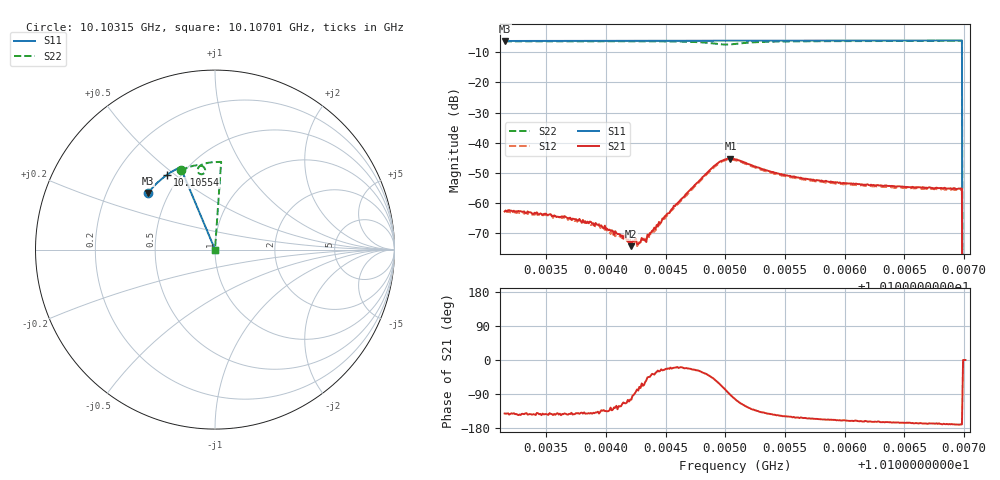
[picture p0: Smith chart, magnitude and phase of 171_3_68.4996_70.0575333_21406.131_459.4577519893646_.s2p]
#  HZ  S  RI  R  50.00
! Rohde & Schwarz Vector Network Analyzer
! Rohde-Schwarz,ZNB20-2Port,1311601062101988,3.16
! Created: UTC 3/20/2024, 5:11:21 PM
! freq[Hz]  re:S11  im:S11  re:S21  im:S21  re:S12  im:S12  re:S22  im:S22
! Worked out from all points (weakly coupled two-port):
!   401 points, 10.10315 GHz to 10.10701 GHz, reference 50 ohm
!   highest |S21| = -45.30 dB at 10.10504 GHz (marker M1); lowest = -74.4 dB at 10.10421 GHz (marker M2)
!   lowest |S11| = -6.2 dB at 10.10315 GHz (marker M3), VSWR 2.91, Z = 19.2 + j15.9 ohm
!   |S11| at or under -10 dB: 10.10698 GHz to end of sweep
!   |S22| runs from - to -6.2 dB; largest |S21 - S12| = 0.00055
!   S11 on the Smith chart (normalised r, x): 10.10315 GHz: 0.38, +0.32; 10.10554 GHz: 0.42, +0.47; 10.10701 GHz: 1.00, +0.00
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1.0103152e10  -0.3724 0.316  -0.000561 -0.00045  -0.000515 -0.0005  -0.1908 0.4412
1.0103519e10  -0.3583 0.3334  -0.000516 -0.000365  -0.00046 -0.000407  -0.1683 0.4511
1.0103799e10  -0.347 0.3462  -0.000352 -0.000307  -0.000369 -0.000331  -0.1504 0.4581
1.0103972e10  -0.3398 0.3539  -0.000268 -0.000279  -0.000247 -0.000279  -0.1387 0.4619
1.0104136e10  -0.333 0.361  -0.000129 -0.000257  -0.000103 -0.00024  -0.1269 0.4651
1.0104194e10  -0.3305 0.3636  -7.64e-05 -0.000214  -4.48e-05 -0.000214  -0.1225 0.4664
1.0104213e10  -0.3297 0.3643  -4.83e-05 -0.000185  2.17e-05 -0.000221  -0.1212 0.4667
1.0104281e10  -0.3266 0.3672  7.04e-05 -0.000203  7.58e-05 -0.000209  -0.1159 0.4679
1.0104329e10  -0.3246 0.3692  0.000124 -0.000201  0.000148 -0.000189  -0.1119 0.4685
1.0104358e10  -0.3234 0.3705  0.000201 -0.000201  0.000183 -0.000172  -0.1097 0.4689
1.0104445e10  -0.3195 0.3741  0.000416 -0.000243  0.000391 -0.000159  -0.102 0.4699
1.010457e10  -0.3138 0.3793  0.000843 -0.000314  0.000798 -0.000226  -0.0898 0.4701
1.0104899e10  -0.2986 0.3921  0.00264 -0.00294  0.00276 -0.00255  -0.0548 0.4412
1.0104976e10  -0.295 0.3949  0.00171 -0.00477  0.00208 -0.00443  -0.0637 0.4235
1.0105043e10  -0.2922 0.3975  -0.0002 -0.00543  0.000299 -0.00521  -0.0822 0.4207
1.0105082e10  -0.2903 0.3988  -0.00118 -0.00516  -0.000685 -0.00505  -0.0907 0.4263
1.0105362e10  -0.2771 0.4095  -0.00266 -0.00211  -0.00237 -0.00223  -0.0833 0.4669
1.0105545e10  -0.2681 0.4159  -0.00242 -0.00141  -0.00217 -0.00153  -0.0674 0.4757
1.0105728e10  -0.2588 0.4221  -0.00218 -0.00104  -0.00203 -0.00117  -0.0528 0.4806
1.0106375e10  -0.2255 0.4427  -0.00184 -0.000521  -0.00171 -0.000651  -0.00644 0.4876
1.0106963e10  -0.1937 0.4588  -0.0017 -0.000281  -0.00156 -0.000419  0.0328 0.4884
1.0107011e10  0 0  0 0  0 0  0 0
